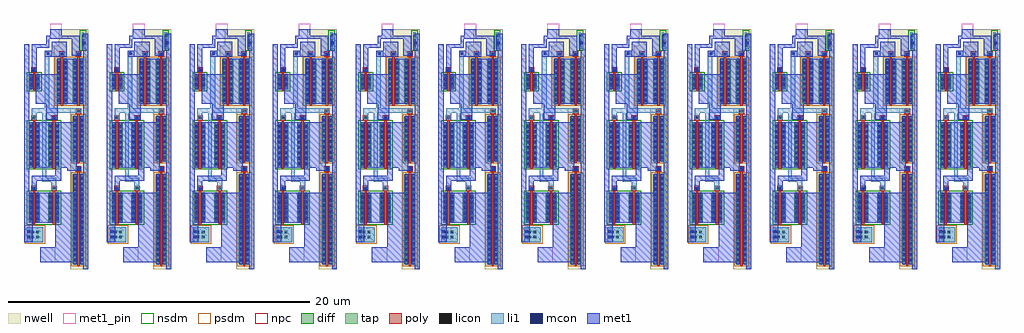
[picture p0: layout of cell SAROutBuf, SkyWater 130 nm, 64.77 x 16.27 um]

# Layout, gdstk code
from math import pi, radians
import gdstk
lib = gdstk.Library(unit=1e-6, precision=1e-09)
def R(c, l, rs):  # rectangles x0, y0, x1, y1
    for r in rs: c.add(gdstk.rectangle(r[:2], r[2:], *l))
def A(c, l, x, y, w, h, nx, ny, dx, dy):  # array of equal rectangles
    R(c, l, [(x+i*dx, y+j*dy, x+i*dx+w, y+j*dy+h) for i in range(nx) for j in range(ny)])
nwell = (64, 20)
diff = (65, 20)
tap = (65, 44)
poly = (66, 20)
licon = (66, 44)
li1 = (67, 20)
mcon = (67, 44)
met1_pin = (68, 16)
met1 = (68, 20)
nsdm = (93, 44)
psdm = (94, 20)
npc = (95, 20)

sky130_fd_pr__nfet_01v8_ = lib.new_cell('sky130_fd_pr__nfet_01v8_TUG65L')
R(sky130_fd_pr__nfet_01v8_, diff, [(-0.365,-1.155,0.365,0.845)])
R(sky130_fd_pr__nfet_01v8_, poly, [(-0.075,-1.285,0.075,0.955), (-0.165,0.955,0.165,1.285)])
A(sky130_fd_pr__nfet_01v8_, licon, -0.305, -1.09, 0.17, 0.17, 1, 6, 0, 0.34)
A(sky130_fd_pr__nfet_01v8_, licon, 0.135, -1.09, 0.17, 0.17, 1, 6, 0, 0.34)
R(sky130_fd_pr__nfet_01v8_, licon, [(-0.085,1.035,0.085,1.205)])
R(sky130_fd_pr__nfet_01v8_, li1, [(-0.305,-1.175,-0.135,0.865), (0.135,-1.175,0.305,0.865), (-0.165,1.035,0.165,1.205)])
A(sky130_fd_pr__nfet_01v8_, mcon, -0.305, -0.96, 0.17, 0.17, 1, 5, 0, 0.36)
A(sky130_fd_pr__nfet_01v8_, mcon, 0.135, -0.96, 0.17, 0.17, 1, 5, 0, 0.36)
R(sky130_fd_pr__nfet_01v8_, met1, [(-0.335,-1.155,-0.105,0.845), (0.105,-1.155,0.335,0.845)])
R(sky130_fd_pr__nfet_01v8_, nsdm, [(-0.49,-1.28,0.49,0.97)])
R(sky130_fd_pr__nfet_01v8_, npc, [(-0.185,0.935,0.185,1.305)])

sky130_fd_pr__pfet_01v8_ = lib.new_cell('sky130_fd_pr__pfet_01v8_C6DMSJ')
R(sky130_fd_pr__pfet_01v8_, nwell, [(-0.545,-3.49,0.545,3.32)])
R(sky130_fd_pr__pfet_01v8_, diff, [(-0.365,-3.18,0.365,2.82)])
R(sky130_fd_pr__pfet_01v8_, poly, [(-0.075,-3.31,0.075,2.975), (-0.165,2.975,0.165,3.305)])
A(sky130_fd_pr__pfet_01v8_, licon, -0.305, -2.985, 0.17, 0.17, 1, 17, 0, 0.34)
A(sky130_fd_pr__pfet_01v8_, licon, 0.135, -2.985, 0.17, 0.17, 1, 17, 0, 0.34)
R(sky130_fd_pr__pfet_01v8_, licon, [(-0.085,3.055,0.085,3.225)])
R(sky130_fd_pr__pfet_01v8_, li1, [(-0.305,-3.2,-0.135,2.84), (0.135,-3.2,0.305,2.84), (-0.165,3.055,0.165,3.225)])
A(sky130_fd_pr__pfet_01v8_, mcon, -0.305, -2.965, 0.17, 0.17, 1, 16, 0, 0.36)
A(sky130_fd_pr__pfet_01v8_, mcon, 0.135, -2.965, 0.17, 0.17, 1, 16, 0, 0.36)
R(sky130_fd_pr__pfet_01v8_, mcon, [(-0.085,3.055,0.085,3.225)])
R(sky130_fd_pr__pfet_01v8_, met1, [(-0.335,-3.18,-0.105,2.82), (0.105,-3.18,0.335,2.82), (-0.145,3.025,0.145,3.255)])
R(sky130_fd_pr__pfet_01v8_, psdm, [(-0.49,-3.305,0.49,2.945)])
R(sky130_fd_pr__pfet_01v8_, npc, [(-0.185,2.955,0.185,3.325)])

c_sky130_fd_pr__nfet_01v8_ = lib.new_cell('sky130_fd_pr__nfet_01v8_28RQMS')
R(c_sky130_fd_pr__nfet_01v8_, diff, [(-0.365,-1.155,0.365,0.845)])
R(c_sky130_fd_pr__nfet_01v8_, poly, [(-0.075,-1.285,0.075,0.955), (-0.165,0.955,0.165,1.285)])
A(c_sky130_fd_pr__nfet_01v8_, licon, -0.305, -1.09, 0.17, 0.17, 1, 6, 0, 0.34)
A(c_sky130_fd_pr__nfet_01v8_, licon, 0.135, -1.09, 0.17, 0.17, 1, 6, 0, 0.34)
R(c_sky130_fd_pr__nfet_01v8_, licon, [(-0.085,1.035,0.085,1.205)])
R(c_sky130_fd_pr__nfet_01v8_, li1, [(-0.305,-1.175,-0.135,0.865), (0.135,-1.175,0.305,0.865), (-0.165,1.035,0.165,1.205)])
A(c_sky130_fd_pr__nfet_01v8_, mcon, -0.305, -0.96, 0.17, 0.17, 1, 5, 0, 0.36)
A(c_sky130_fd_pr__nfet_01v8_, mcon, 0.135, -0.96, 0.17, 0.17, 1, 5, 0, 0.36)
R(c_sky130_fd_pr__nfet_01v8_, mcon, [(-0.085,1.035,0.085,1.205)])
R(c_sky130_fd_pr__nfet_01v8_, met1, [(-0.335,-1.155,-0.105,0.845), (0.105,-1.155,0.335,0.845), (-0.145,1.005,0.145,1.235)])
R(c_sky130_fd_pr__nfet_01v8_, nsdm, [(-0.49,-1.28,0.49,0.97)])
R(c_sky130_fd_pr__nfet_01v8_, npc, [(-0.185,0.935,0.185,1.305)])

c_sky130_fd_pr__nfet_01v8__ = lib.new_cell('sky130_fd_pr__nfet_01v8_KNTFKG')
R(c_sky130_fd_pr__nfet_01v8__, diff, [(-0.365,-1.655,0.365,1.345)])
R(c_sky130_fd_pr__nfet_01v8__, poly, [(-0.075,-1.785,0.075,1.455), (-0.165,1.455,0.165,1.785)])
A(c_sky130_fd_pr__nfet_01v8__, licon, -0.305, -1.43, 0.17, 0.17, 1, 8, 0, 0.34)
A(c_sky130_fd_pr__nfet_01v8__, licon, 0.135, -1.43, 0.17, 0.17, 1, 8, 0, 0.34)
R(c_sky130_fd_pr__nfet_01v8__, licon, [(-0.085,1.535,0.085,1.705)])
R(c_sky130_fd_pr__nfet_01v8__, li1, [(-0.305,-1.675,-0.135,1.365), (0.135,-1.675,0.305,1.365), (-0.165,1.535,0.165,1.705)])
A(c_sky130_fd_pr__nfet_01v8__, mcon, -0.305, -1.5, 0.17, 0.17, 1, 8, 0, 0.36)
A(c_sky130_fd_pr__nfet_01v8__, mcon, 0.135, -1.5, 0.17, 0.17, 1, 8, 0, 0.36)
R(c_sky130_fd_pr__nfet_01v8__, mcon, [(-0.085,1.535,0.085,1.705)])
R(c_sky130_fd_pr__nfet_01v8__, met1, [(-0.335,-1.655,-0.105,1.345), (0.105,-1.655,0.335,1.345), (-0.145,1.505,0.145,1.735)])
R(c_sky130_fd_pr__nfet_01v8__, nsdm, [(-0.49,-1.78,0.49,1.47)])
R(c_sky130_fd_pr__nfet_01v8__, npc, [(-0.185,1.435,0.185,1.805)])

c_sky130_fd_pr__pfet_01v8_ = lib.new_cell('sky130_fd_pr__pfet_01v8_YRA8CD')
R(c_sky130_fd_pr__pfet_01v8_, nwell, [(-0.545,-1.99,0.545,1.82)])
R(c_sky130_fd_pr__pfet_01v8_, diff, [(-0.365,-1.68,0.365,1.32)])
R(c_sky130_fd_pr__pfet_01v8_, poly, [(-0.075,-1.81,0.075,1.475), (-0.165,1.475,0.165,1.805)])
A(c_sky130_fd_pr__pfet_01v8_, licon, -0.305, -1.455, 0.17, 0.17, 1, 8, 0, 0.34)
A(c_sky130_fd_pr__pfet_01v8_, licon, 0.135, -1.455, 0.17, 0.17, 1, 8, 0, 0.34)
R(c_sky130_fd_pr__pfet_01v8_, licon, [(-0.085,1.555,0.085,1.725)])
R(c_sky130_fd_pr__pfet_01v8_, li1, [(-0.305,-1.7,-0.135,1.34), (0.135,-1.7,0.305,1.34), (-0.165,1.555,0.165,1.725)])
A(c_sky130_fd_pr__pfet_01v8_, mcon, -0.305, -1.525, 0.17, 0.17, 1, 8, 0, 0.36)
A(c_sky130_fd_pr__pfet_01v8_, mcon, 0.135, -1.525, 0.17, 0.17, 1, 8, 0, 0.36)
R(c_sky130_fd_pr__pfet_01v8_, met1, [(-0.335,-1.68,-0.105,1.32), (0.105,-1.68,0.335,1.32)])
R(c_sky130_fd_pr__pfet_01v8_, psdm, [(-0.49,-1.805,0.49,1.445)])
R(c_sky130_fd_pr__pfet_01v8_, npc, [(-0.185,1.455,0.185,1.825)])

c_sky130_fd_pr__nfet_01v8___ = lib.new_cell('sky130_fd_pr__nfet_01v8_5R7S7E')
R(c_sky130_fd_pr__nfet_01v8___, diff, [(-0.365,-1.655,0.365,1.345)])
R(c_sky130_fd_pr__nfet_01v8___, poly, [(-0.075,-1.785,0.075,1.455), (-0.165,1.455,0.165,1.785)])
A(c_sky130_fd_pr__nfet_01v8___, licon, -0.305, -1.43, 0.17, 0.17, 1, 8, 0, 0.34)
A(c_sky130_fd_pr__nfet_01v8___, licon, 0.135, -1.43, 0.17, 0.17, 1, 8, 0, 0.34)
R(c_sky130_fd_pr__nfet_01v8___, licon, [(-0.085,1.535,0.085,1.705)])
R(c_sky130_fd_pr__nfet_01v8___, li1, [(-0.305,-1.675,-0.135,1.365), (0.135,-1.675,0.305,1.365), (-0.165,1.535,0.165,1.705)])
A(c_sky130_fd_pr__nfet_01v8___, mcon, -0.305, -1.5, 0.17, 0.17, 1, 8, 0, 0.36)
A(c_sky130_fd_pr__nfet_01v8___, mcon, 0.135, -1.5, 0.17, 0.17, 1, 8, 0, 0.36)
R(c_sky130_fd_pr__nfet_01v8___, met1, [(-0.335,-1.655,-0.105,1.345), (0.105,-1.655,0.335,1.345)])
R(c_sky130_fd_pr__nfet_01v8___, nsdm, [(-0.49,-1.78,0.49,1.47)])
R(c_sky130_fd_pr__nfet_01v8___, npc, [(-0.185,1.435,0.185,1.805)])

c_sky130_fd_pr__pfet_01v8__ = lib.new_cell('sky130_fd_pr__pfet_01v8_5475HN')
R(c_sky130_fd_pr__pfet_01v8__, nwell, [(-0.545,-1.99,0.545,1.82)])
R(c_sky130_fd_pr__pfet_01v8__, diff, [(-0.365,-1.68,0.365,1.32)])
R(c_sky130_fd_pr__pfet_01v8__, poly, [(-0.075,-1.81,0.075,1.475), (-0.165,1.475,0.165,1.805)])
A(c_sky130_fd_pr__pfet_01v8__, licon, -0.305, -1.455, 0.17, 0.17, 1, 8, 0, 0.34)
A(c_sky130_fd_pr__pfet_01v8__, licon, 0.135, -1.455, 0.17, 0.17, 1, 8, 0, 0.34)
R(c_sky130_fd_pr__pfet_01v8__, licon, [(-0.085,1.555,0.085,1.725)])
R(c_sky130_fd_pr__pfet_01v8__, li1, [(-0.305,-1.7,-0.135,1.34), (0.135,-1.7,0.305,1.34), (-0.165,1.555,0.165,1.725)])
A(c_sky130_fd_pr__pfet_01v8__, mcon, -0.305, -1.525, 0.17, 0.17, 1, 8, 0, 0.36)
A(c_sky130_fd_pr__pfet_01v8__, mcon, 0.135, -1.525, 0.17, 0.17, 1, 8, 0, 0.36)
R(c_sky130_fd_pr__pfet_01v8__, mcon, [(-0.085,1.555,0.085,1.725)])
R(c_sky130_fd_pr__pfet_01v8__, met1, [(-0.335,-1.68,-0.105,1.32), (0.105,-1.68,0.335,1.32), (-0.145,1.525,0.145,1.755)])
R(c_sky130_fd_pr__pfet_01v8__, psdm, [(-0.49,-1.805,0.49,1.445)])
R(c_sky130_fd_pr__pfet_01v8__, npc, [(-0.185,1.455,0.185,1.825)])

c_sky130_fd_pr__nfet_01v8____ = lib.new_cell('sky130_fd_pr__nfet_01v8_NTFR9R')
R(c_sky130_fd_pr__nfet_01v8____, diff, [(-0.365,-0.655,0.365,0.345)])
R(c_sky130_fd_pr__nfet_01v8____, poly, [(-0.075,-0.785,0.075,0.455), (-0.165,0.455,0.165,0.785)])
A(c_sky130_fd_pr__nfet_01v8____, licon, -0.305, -0.58, 0.17, 0.17, 1, 3, 0, 0.34)
A(c_sky130_fd_pr__nfet_01v8____, licon, 0.135, -0.58, 0.17, 0.17, 1, 3, 0, 0.34)
R(c_sky130_fd_pr__nfet_01v8____, licon, [(-0.085,0.535,0.085,0.705)])
R(c_sky130_fd_pr__nfet_01v8____, li1, [(-0.305,-0.675,-0.135,0.365), (0.135,-0.675,0.305,0.365), (-0.165,0.535,0.165,0.705)])
R(c_sky130_fd_pr__nfet_01v8____, mcon, [(-0.305,-0.42,-0.135,-0.25), (0.135,-0.42,0.305,-0.25), (-0.305,-0.06,-0.135,0.11), (0.135,-0.06,0.305,0.11), (-0.085,0.535,0.085,0.705)])
R(c_sky130_fd_pr__nfet_01v8____, met1, [(-0.335,-0.655,-0.105,0.345), (0.105,-0.655,0.335,0.345), (-0.145,0.505,0.145,0.735)])
R(c_sky130_fd_pr__nfet_01v8____, nsdm, [(-0.49,-0.78,0.49,0.47)])
R(c_sky130_fd_pr__nfet_01v8____, npc, [(-0.185,0.435,0.185,0.805)])

register_tspc = lib.new_cell('Register_tspc')
R(register_tspc, nwell, [(6.75,-1.44,7.82,-1.11), (5.67,-1.11,7.82,0.74), (10.64,-0.35,17.45,0.74), (5.67,0.74,7.49,0.85)])
R(register_tspc, tap, [(18.81,-3.23,19.79,-2.13), (5.85,0.4,6.96,0.57)])
A(register_tspc, licon, 5.98, 0.4, 0.17, 0.17, 3, 1, 0.34, 0)
R(register_tspc, licon, [(19.025,-2.95,19.195,-2.78), (19.365,-2.95,19.535,-2.78), (19.025,-2.61,19.195,-2.44), (19.365,-2.61,19.535,-2.44)])
R(register_tspc, li1, [(18.81,-3.23,19.79,-2.13), (10.9,-2.91,11.65,-2.58), (10.9,-2.58,11.21,-2.2), (10.9,-2.2,15.78,-2.05), (7.08,-2.05,15.78,-1.96), (7.08,-1.96,11.21,-1.74), (15.53,-1.96,15.78,-1.6), (7.08,-1.74,7.48,-1.59), (10.9,-1.74,11.21,0.36), (15.53,-1.6,16.31,-1.27), (5.85,0.4,6.96,0.57), (6.06,0.57,6.96,0.7)])
R(register_tspc, mcon, [(19.005,-3.16,19.175,-2.99), (19.365,-3.16,19.535,-2.99), (7.19,-1.925,7.36,-1.755), (6.49,0.48,6.66,0.65)])
R(register_tspc, met1_pin, [(6.66,-3.42,7.66,-3.08), (20.14,-2.33,21.14,-1.33), (5.31,-1.69,6.31,-0.91), (6.48,-1.59,7.48,-0.59), (6.06,0.42,6.35,0.85), (5.95,0.52,7.06,0.85)])
R(register_tspc, met1, [(6.66,-3.42,19.79,-3.08), (18.38,-3.08,19.79,-2.85), (6.66,-2.91,8.49,-2.58), (15.37,-2.91,16.34,-2.58), (8.65,-2.64,10.62,-1.93), (11.84,-2.64,14.84,-1.54), (16.5,-2.64,18.5,-1.54), (6.66,-2.58,6.88,-1.93), (15.37,-2.58,15.73,-1.33), (20.14,-2.33,21.14,-1.33), (7.08,-2.05,7.48,-1.59), (6.09,-1.93,6.88,-1.74), (8.65,-1.93,11.68,-1.18), (6.09,-1.74,6.31,-1.69), (5.67,-1.69,6.31,-0.91), (6.48,-1.59,7.48,-0.59), (11.84,-1.33,15.73,-0.95), (16.5,-1.33,21.14,-0.04), (8.65,-1.18,10.62,-1), (11.84,-0.95,14.84,-0.54), (6.09,-0.91,6.31,-0.24), (7.62,-0.79,10.62,0.09), (11.84,-0.54,15.07,0.09), (6.09,-0.24,7.41,0.28), (18.22,-0.04,21.14,0.02), (14.8,0.09,15.07,0.34), (6.06,0.42,7.06,0.52), (5.95,0.52,21.58,0.85)])
R(register_tspc, nsdm, [(11.715,-2.255,14.965,-1.925), (16.375,-2.255,18.625,-1.925), (5.725,0.275,7.085,0.695)])
R(register_tspc, psdm, [(18.685,-3.355,19.915,-2.005), (7.495,-0.405,10.74,-0.3)])
register_tspc.add(gdstk.Reference(sky130_fd_pr__nfet_01v8_, (17.345,-1.435), rotation=pi/2))
register_tspc.add(gdstk.Reference(sky130_fd_pr__pfet_01v8_, (18.09,0.195), rotation=pi/2))
register_tspc.add(gdstk.Reference(c_sky130_fd_pr__nfet_01v8_, (17.345,-2.745), rotation=pi/2))
register_tspc.add(gdstk.Reference(c_sky130_fd_pr__nfet_01v8__, (13.185,-1.435), rotation=pi/2))
register_tspc.add(gdstk.Reference(c_sky130_fd_pr__pfet_01v8_, (12.76,0.195), rotation=pi/2))
register_tspc.add(gdstk.Reference(c_sky130_fd_pr__nfet_01v8___, (13.185,-2.745), rotation=pi/2))
register_tspc.add(gdstk.Reference(c_sky130_fd_pr__pfet_01v8__, (8.94,-0.895), rotation=pi/2))
register_tspc.add(gdstk.Reference(c_sky130_fd_pr__pfet_01v8__, (8.935,0.19), rotation=pi/2))
register_tspc.add(gdstk.Reference(c_sky130_fd_pr__nfet_01v8____, (8.995,-2.745), rotation=pi/2))
register_tspc.add(gdstk.Label('VDD', (6.505,0.685), layer=68, texttype=5))
register_tspc.add(gdstk.Label('VDD', (6.205,0.635), layer=68, texttype=5))
register_tspc.add(gdstk.Label('D', (5.81,-1.3), layer=68, texttype=5))
register_tspc.add(gdstk.Label('CLK', (6.98,-1.09), layer=68, texttype=5))
register_tspc.add(gdstk.Label('Qc', (20.64,-1.83), layer=68, texttype=5))
register_tspc.add(gdstk.Label('VSS', (7.16,-3.25), layer=68, texttype=5))

saroutbuf = lib.new_cell('SAROutBuf')
saroutbuf.add(gdstk.Reference(register_tspc, (4.08,21.58), rotation=3*pi/2))
saroutbuf.add(gdstk.Reference(register_tspc, (9.58,21.58), rotation=3*pi/2))
saroutbuf.add(gdstk.Reference(register_tspc, (15.08,21.58), rotation=3*pi/2))
saroutbuf.add(gdstk.Reference(register_tspc, (20.58,21.58), rotation=3*pi/2))
saroutbuf.add(gdstk.Reference(register_tspc, (26.08,21.58), rotation=3*pi/2))
saroutbuf.add(gdstk.Reference(register_tspc, (31.58,21.58), rotation=3*pi/2))
saroutbuf.add(gdstk.Reference(register_tspc, (37.08,21.58), rotation=3*pi/2))
saroutbuf.add(gdstk.Reference(register_tspc, (42.58,21.58), rotation=3*pi/2))
saroutbuf.add(gdstk.Reference(register_tspc, (48.08,21.58), rotation=3*pi/2))
saroutbuf.add(gdstk.Reference(register_tspc, (53.58,21.58), rotation=3*pi/2))
saroutbuf.add(gdstk.Reference(register_tspc, (59.08,21.58), rotation=3*pi/2))
saroutbuf.add(gdstk.Reference(register_tspc, (64.58,21.58), rotation=3*pi/2))

lib.write_gds('SAROutBuf.gds')
